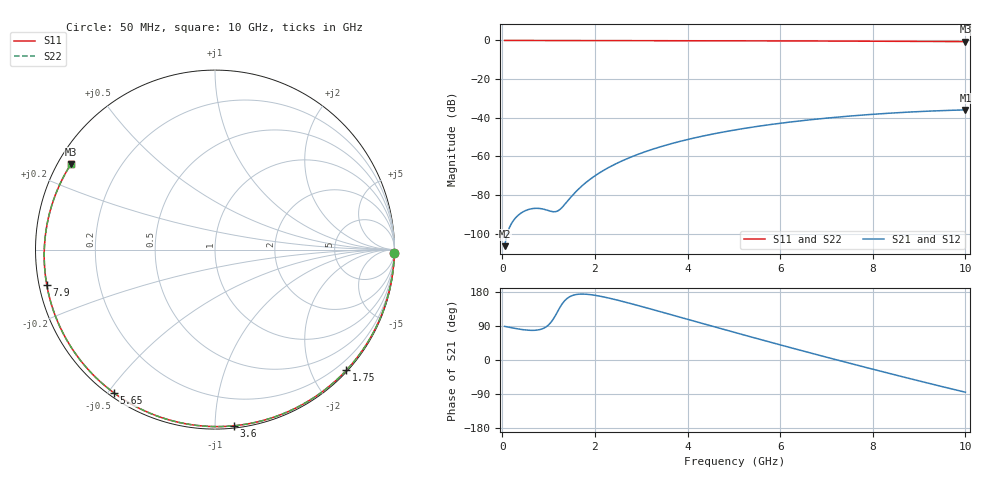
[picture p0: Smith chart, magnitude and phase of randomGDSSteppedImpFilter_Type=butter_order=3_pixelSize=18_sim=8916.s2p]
! freq	dB(S11)	phase(S11)	dB(S12)	phase(S12)
!  dB(S21)	phase(S21)	dB(S22)	phase(S22)
!S-par simulation data
#  GHz  S  DB  R 50
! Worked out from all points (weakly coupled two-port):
!   200 points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, 50 MHz to 10 GHz, reference 50 ohm
!   highest |S21| = -35.96 dB at 10 GHz (marker M1); lowest = -106.5 dB at 50 MHz (marker M2)
!   lowest |S11| = -0.6 dB at 10 GHz (marker M3), VSWR 29.05, Z = 1.85 + j13.7 ohm
!   |S11| at or under -10 dB: nowhere
!   |S22| runs from -0.6 to 0.0 dB; largest |S21 - S12| = 0
!   S11 on the Smith chart (normalised r, x): 50 MHz: 1, -95; 1.75 GHz: 0.02, -2.57; 3.6 GHz: 0.01, -1.11; 5.65 GHz: 0.01, -0.52; 7.9 GHz: 0.02, -0.10; 10 GHz: 0.04, +0.27
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0.05  -0.00 -1.2  -106.51 88.7  -106.51 88.7  -0.00 -1.2
0.4  -0.02 -9.9  -89.45 80.8  -89.45 80.8  -0.02 -9.9
0.75  -0.02 -18.5  -86.91 78.9  -86.91 78.9  -0.02 -18.5
1.5  -0.05 -36.6  -80.61 169.6  -80.61 169.6  -0.05 -36.6
1.55  -0.05 -37.8  -79.29 171.6  -79.29 171.6  -0.05 -37.8
1.75  -0.05 -42.5  -74.68 174.0  -74.68 174.0  -0.05 -42.5
2.05  -0.06 -49.5  -69.30 169.7  -69.30 169.7  -0.06 -49.5
2.45  -0.08 -58.7  -63.89 159.1  -63.89 159.1  -0.08 -58.7
2.9  -0.09 -68.8  -59.23 144.8  -59.23 144.8  -0.09 -68.8
3.4  -0.10 -79.7  -55.16 128.0  -55.16 128.0  -0.10 -79.7
3.6  -0.11 -84.0  -53.77 121.1  -53.77 121.1  -0.11 -84.0
4.3  -0.14 -98.5  -49.66 97.2  -49.66 97.2  -0.14 -98.5
5.05  -0.17 -113.6  -46.23 71.7  -46.23 71.7  -0.17 -113.6
5.65  -0.20 -125.3  -44.01 51.6  -44.01 51.6  -0.20 -125.3
6.2  -0.24 -135.8  -42.29 33.4  -42.29 33.4  -0.24 -135.8
6.7  -0.27 -145.3  -40.94 17.1  -40.94 17.1  -0.27 -145.3
7.3  -0.32 -156.7  -39.56 -2.2  -39.56 -2.2  -0.32 -156.6
7.9  -0.38 -168.1  -38.41 -21.2  -38.41 -21.2  -0.37 -168.1
8.35  -0.42 -176.8  -37.68 -35.2  -37.68 -35.2  -0.42 -176.8
8.8  -0.47 174.3  -37.06 -49.1  -37.06 -49.1  -0.47 174.3
9.2  -0.51 166.2  -36.60 -61.3  -36.60 -61.3  -0.51 166.3
10  -0.60 149.4  -35.96 -85.0  -35.96 -85.0  -0.60 149.4
